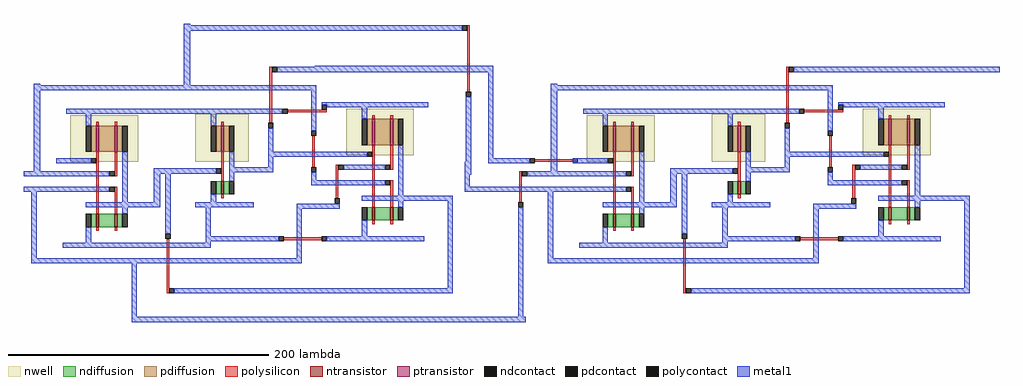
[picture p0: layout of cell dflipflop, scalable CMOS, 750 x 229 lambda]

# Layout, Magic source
magic
tech scmos
<< polysilicon >>
rect 341 155 343 206
rect 393 101 422 103
rect 381 70 383 94
<< polycontact >>
rect 337 202 341 206
rect 340 151 344 155
rect 389 100 393 104
rect 422 100 426 104
rect 383 90 387 94
rect 380 66 384 70
<< metal1 >>
rect 123 206 128 207
rect 123 202 337 206
rect 123 160 128 202
rect 224 170 361 175
rect 621 170 750 174
rect 340 101 344 151
rect 339 91 344 101
rect 357 104 361 170
rect 357 100 389 104
rect 339 82 343 91
rect 387 90 397 94
rect 339 78 397 82
rect 83 -18 87 24
rect 380 -18 384 66
rect 83 -22 386 -18
use dlatch  dlatch_0
transform 1 0 79 0 1 115
box -79 -115 251 59
use dlatch  dlatch_1
transform 1 0 476 0 1 115
box -79 -115 251 59
<< end >>

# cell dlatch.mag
magic
tech scmos
<< nwell >>
rect -43 -14 9 22
rect 53 -14 94 23
rect 169 -9 221 27
<< ntransistor >>
rect 73 -39 75 -29
rect -23 -64 -21 -54
rect -9 -64 -7 -54
rect 189 -59 191 -49
rect 203 -59 205 -49
<< ptransistor >>
rect -23 -6 -21 14
rect -9 -6 -7 14
rect 73 -6 75 14
rect 189 -1 191 19
rect 203 -1 205 19
<< ndiffusion >>
rect 69 -39 73 -29
rect 75 -39 79 -29
rect -27 -64 -23 -54
rect -21 -64 -9 -54
rect -7 -64 -3 -54
rect 185 -59 189 -49
rect 191 -59 203 -49
rect 205 -59 209 -49
<< pdiffusion >>
rect -27 -6 -23 14
rect -21 -6 -9 14
rect -7 -6 -3 14
rect 69 -6 73 14
rect 75 -6 79 14
rect 185 -1 189 19
rect 191 -1 203 19
rect 205 -1 209 19
<< ndcontact >>
rect 65 -39 69 -29
rect 79 -39 83 -29
rect -31 -64 -27 -54
rect -3 -64 1 -54
rect 181 -59 185 -49
rect 209 -59 213 -49
<< pdcontact >>
rect -31 -6 -27 14
rect -3 -6 1 14
rect 65 -6 69 14
rect 79 -6 83 14
rect 181 -1 185 19
rect 209 -1 213 19
<< polysilicon >>
rect -23 14 -21 17
rect -9 14 -7 17
rect 73 14 75 17
rect 110 16 112 59
rect 124 24 154 26
rect 189 19 191 22
rect 203 19 205 22
rect -23 -54 -21 -6
rect -9 -25 -7 -6
rect 73 -29 75 -6
rect 143 -18 145 6
rect -9 -54 -7 -33
rect 73 -42 75 -39
rect 161 -42 163 -16
rect 189 -49 191 -1
rect 203 -20 205 -1
rect 203 -49 205 -28
rect 189 -62 191 -59
rect 203 -62 205 -59
rect -23 -67 -21 -64
rect -9 -67 -7 -64
rect 31 -115 33 -73
rect 121 -74 150 -72
<< polycontact >>
rect 112 55 116 59
rect 120 23 124 27
rect 150 26 154 30
rect 109 12 113 16
rect 142 6 146 10
rect -27 -15 -23 -11
rect -13 -25 -9 -21
rect 69 -23 73 -19
rect 185 -10 189 -6
rect 142 -22 146 -18
rect -13 -37 -9 -33
rect 163 -20 167 -16
rect 160 -46 164 -42
rect 199 -20 203 -16
rect 199 -32 203 -28
rect 30 -73 34 -69
rect 117 -75 121 -71
rect 150 -75 154 -71
rect 33 -115 37 -111
<< metal1 >>
rect 116 55 145 59
rect -71 45 -66 46
rect -71 41 146 45
rect -71 -21 -66 41
rect -46 23 120 27
rect -31 14 -27 23
rect 65 14 69 23
rect -54 -15 -27 -11
rect -79 -25 -13 -21
rect -79 -37 -13 -33
rect -73 -88 -69 -37
rect -3 -45 1 -6
rect 79 -18 83 -6
rect 109 -6 113 12
rect 142 10 146 41
rect 150 30 232 32
rect 154 28 232 30
rect 181 19 185 28
rect 109 -10 185 -6
rect 109 -18 113 -10
rect 21 -23 69 -19
rect 79 -22 113 -18
rect 167 -20 199 -16
rect 21 -45 26 -23
rect -31 -49 26 -45
rect -3 -54 1 -49
rect -31 -76 -27 -64
rect 30 -69 34 -23
rect 79 -29 83 -22
rect 142 -28 146 -22
rect 142 -32 199 -28
rect 65 -45 69 -39
rect 209 -40 213 -1
rect 53 -49 98 -45
rect 181 -44 251 -40
rect 61 -71 65 -49
rect 131 -50 164 -46
rect 209 -49 213 -44
rect 61 -75 117 -71
rect 61 -76 65 -75
rect -49 -80 65 -76
rect 131 -88 135 -50
rect 181 -71 185 -59
rect 154 -75 229 -71
rect -73 -92 135 -88
rect 247 -111 251 -44
rect 37 -115 251 -111
<< labels >>
rlabel metal1 -46 23 120 27 1 vdd
rlabel metal1 53 -49 98 -45 1 gnd
rlabel metal1 -54 -15 -27 -11 1 in_D
rlabel metal1 -79 -25 -13 -21 1 in_en_bar
rlabel metal1 -79 -37 -13 -33 1 in_en
rlabel metal1 83 -22 113 -18 1 q_out
<< end >>
